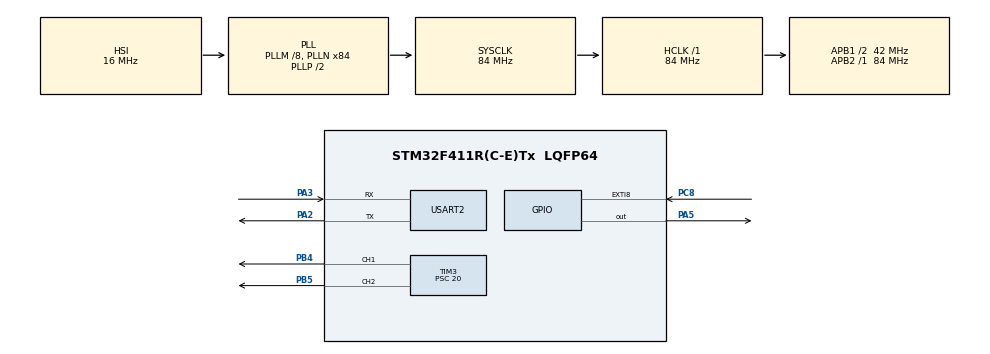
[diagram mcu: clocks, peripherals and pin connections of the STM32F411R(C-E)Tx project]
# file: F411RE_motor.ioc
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Mcu.Family=STM32F4
Mcu.Name=STM32F411R(C-E)Tx
Mcu.Package=LQFP64
NVIC.EXTI9_5_IRQn=true\:2\:0\:true\:false\:true\:true\:true\:true
NVIC.PriorityGroup=NVIC_PRIORITYGROUP_4
NVIC.TIM2_IRQn=true\:0\:0\:false\:false\:true\:true\:true\:true
PA2.Mode=Asynchronous
PA2.Signal=USART2_TX
PA3.Mode=Asynchronous
PA3.Signal=USART2_RX
PA5.Signal=GPIO_Output
PB4.Signal=S_TIM3_CH1
PB5.Signal=S_TIM3_CH2
PC8.Signal=GPXTI8
ProjectManager.HeapSize=0x200
ProjectManager.StackSize=0x400
ProjectManager.TargetToolchain=STM32CubeIDE
RCC.48MHZClocksFreq_Value=42000000
RCC.AHBFreq_Value=84000000
RCC.APB1CLKDivider=RCC_HCLK_DIV2
RCC.APB1Freq_Value=42000000
RCC.APB1TimFreq_Value=84000000
RCC.APB2Freq_Value=84000000
RCC.APB2TimFreq_Value=84000000
RCC.CortexFreq_Value=84000000
RCC.HCLKFreq_Value=84000000
RCC.HSE_VALUE=25000000
RCC.HSI_VALUE=16000000
RCC.LSE_VALUE=32768
RCC.PLLM=8
RCC.PLLN=84
RCC.SYSCLKFreq_VALUE=84000000
RCC.SYSCLKSource=RCC_SYSCLKSOURCE_PLLCLK
RCC.VCOOutputFreq_Value=168000000
SH.S_TIM3_CH1.0=TIM3_CH1,PWM Generation1 CH1
SH.S_TIM3_CH2.0=TIM3_CH2,PWM Generation2 CH2
TIM2.Channel-Output\ Compare1\ No\ Output=TIM_CHANNEL_1
TIM2.Period=9999
TIM2.Prescaler=839
TIM3.Channel-PWM\ Generation1\ CH1=TIM_CHANNEL_1
TIM3.Channel-PWM\ Generation2\ CH2=TIM_CHANNEL_2
TIM3.Period=249
TIM3.Prescaler=20
USART2.VirtualMode=VM_ASYNC
VP_TIM2_VS_ClockSourceINT.Mode=Internal
VP_TIM2_VS_no_output1.Mode=Output Compare1 No Output
VP_TIM3_VS_ClockSourceINT.Mode=Internal
board=custom

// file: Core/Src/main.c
/* USER CODE BEGIN Header */
/**
  ******************************************************************************
  * @file           : main.c
  * @brief          : Main program body
  ******************************************************************************
  * @attention
  *
  * Copyright (c) 2024 STMicroelectronics.
  * All rights reserved.
  *
  * This software is licensed under terms that can be found in the LICENSE file
  * in the root directory of this software component.
  * If no LICENSE file comes with this software, it is provided AS-IS.
  *
  ******************************************************************************
  */
/* USER CODE END Header */
#include "main.h"

TIM_HandleTypeDef htim2;
TIM_HandleTypeDef htim3;

UART_HandleTypeDef huart2;

/* USER CODE BEGIN PV */
volatile uint32_t last_time = 0;
volatile uint8_t is_timer_active = 0;
volatile float speed = 0.0;
uint8_t ramp_speed = 30;
 // Flag to indicate the 20ms window is active

/* USER CODE END PV */

void SystemClock_Config(void);
static void MX_GPIO_Init(void);
static void MX_TIM2_Init(void);
static void MX_TIM3_Init(void);
static void MX_USART2_UART_Init(void);

int main(void)
{

  /* MCU Configuration--------------------------------------------------------*/

  /* Reset of all peripherals, Initializes the Flash interface and the Systick. */
  HAL_Init();

  /* Configure the system clock */
  SystemClock_Config();

  /* Initialize all configured peripherals */
  MX_GPIO_Init();
  MX_TIM2_Init();
  MX_TIM3_Init();
  MX_USART2_UART_Init();
  /* USER CODE BEGIN 2 */

  // Set an initial duty cycle for the PWM pins
  uint32_t new_duty_cycle = 35;

  // Set the duty cycle values (outside the while loop)
  __HAL_TIM_SET_COMPARE(&htim3, TIM_CHANNEL_1, new_duty_cycle);
  __HAL_TIM_SET_COMPARE(&htim3, TIM_CHANNEL_2, new_duty_cycle);

  // Start the PWM on both channels
  HAL_TIM_PWM_Start(&htim3, TIM_CHANNEL_1); // Start PWM on PB4 (D5)
  HAL_TIM_PWM_Start(&htim3, TIM_CHANNEL_2); // Start PWM on PB10 (D6)

  HAL_TIM_Base_Start_IT(&htim2);

  /* USER CODE END 2 */

  /* Infinite loop */
  while (1)
  {

    /* USER CODE BEGIN 3 */
	  if (ramp_speed < 55){
		  ramp_speed +=5;
	  } else {
		  ramp_speed = 30;
	  }

	  __HAL_TIM_SET_COMPARE(&htim3, TIM_CHANNEL_1, ramp_speed);
	  __HAL_TIM_SET_COMPARE(&htim3, TIM_CHANNEL_2, 0);
	  HAL_Delay(4000);

	  __HAL_TIM_SET_COMPARE(&htim3, TIM_CHANNEL_1, 0);
	  __HAL_TIM_SET_COMPARE(&htim3, TIM_CHANNEL_2, ramp_speed);
	  HAL_Delay(4000);
  }
  /* USER CODE END 3 */
}

void SystemClock_Config(void)
{
  RCC_OscInitTypeDef RCC_OscInitStruct = {0};
  RCC_ClkInitTypeDef RCC_ClkInitStruct = {0};

  /** Configure the main internal regulator output voltage
  */
  __HAL_RCC_PWR_CLK_ENABLE();
  __HAL_PWR_VOLTAGESCALING_CONFIG(PWR_REGULATOR_VOLTAGE_SCALE1);

  /** Initializes the RCC Oscillators according to the specified parameters
  * in the RCC_OscInitTypeDef structure.
  */
  RCC_OscInitStruct.OscillatorType = RCC_OSCILLATORTYPE_HSI;
  RCC_OscInitStruct.HSIState = RCC_HSI_ON;
  RCC_OscInitStruct.HSICalibrationValue = RCC_HSICALIBRATION_DEFAULT;
  RCC_OscInitStruct.PLL.PLLState = RCC_PLL_ON;
  RCC_OscInitStruct.PLL.PLLSource = RCC_PLLSOURCE_HSI;
  RCC_OscInitStruct.PLL.PLLM = 8;
  RCC_OscInitStruct.PLL.PLLN = 84;
  RCC_OscInitStruct.PLL.PLLP = RCC_PLLP_DIV2;
  RCC_OscInitStruct.PLL.PLLQ = 4;
  if (HAL_RCC_OscConfig(&RCC_OscInitStruct) != HAL_OK)
  {
    Error_Handler();
  }

  /** Initializes the CPU, AHB and APB buses clocks
  */
  RCC_ClkInitStruct.ClockType = RCC_CLOCKTYPE_HCLK|RCC_CLOCKTYPE_SYSCLK
                              |RCC_CLOCKTYPE_PCLK1|RCC_CLOCKTYPE_PCLK2;
  RCC_ClkInitStruct.SYSCLKSource = RCC_SYSCLKSOURCE_PLLCLK;
  RCC_ClkInitStruct.AHBCLKDivider = RCC_SYSCLK_DIV1;
  RCC_ClkInitStruct.APB1CLKDivider = RCC_HCLK_DIV2;
  RCC_ClkInitStruct.APB2CLKDivider = RCC_HCLK_DIV1;

  if (HAL_RCC_ClockConfig(&RCC_ClkInitStruct, FLASH_LATENCY_2) != HAL_OK)
  {
    Error_Handler();
  }
}

static void MX_TIM2_Init(void)
{

  TIM_ClockConfigTypeDef sClockSourceConfig = {0};
  TIM_MasterConfigTypeDef sMasterConfig = {0};
  TIM_OC_InitTypeDef sConfigOC = {0};

  /* USER CODE BEGIN TIM2_Init 1 */
  HAL_NVIC_SetPriority(TIM2_IRQn, 1, 0); // Set priority (adjust the priority level)
  HAL_NVIC_EnableIRQ(TIM2_IRQn); // Enable the interrupt for Timer 2

  /* USER CODE END TIM2_Init 1 */
  htim2.Instance = TIM2;
  htim2.Init.Prescaler = 839;
  htim2.Init.CounterMode = TIM_COUNTERMODE_UP;
  htim2.Init.Period = 9999;
  htim2.Init.ClockDivision = TIM_CLOCKDIVISION_DIV1;
  htim2.Init.AutoReloadPreload = TIM_AUTORELOAD_PRELOAD_DISABLE;
  if (HAL_TIM_Base_Init(&htim2) != HAL_OK)
  {
    Error_Handler();
  }
  sClockSourceConfig.ClockSource = TIM_CLOCKSOURCE_INTERNAL;
  if (HAL_TIM_ConfigClockSource(&htim2, &sClockSourceConfig) != HAL_OK)
  {
    Error_Handler();
  }
  if (HAL_TIM_OC_Init(&htim2) != HAL_OK)
  {
    Error_Handler();
  }
  sMasterConfig.MasterOutputTrigger = TIM_TRGO_RESET;
  sMasterConfig.MasterSlaveMode = TIM_MASTERSLAVEMODE_DISABLE;
  if (HAL_TIMEx_MasterConfigSynchronization(&htim2, &sMasterConfig) != HAL_OK)
  {
    Error_Handler();
  }
  sConfigOC.OCMode = TIM_OCMODE_TIMING;
  sConfigOC.Pulse = 0;
  sConfigOC.OCPolarity = TIM_OCPOLARITY_HIGH;
  sConfigOC.OCFastMode = TIM_OCFAST_DISABLE;
  if (HAL_TIM_OC_ConfigChannel(&htim2, &sConfigOC, TIM_CHANNEL_1) != HAL_OK)
  {
    Error_Handler();
  }

}

static void MX_TIM3_Init(void)
{

  TIM_ClockConfigTypeDef sClockSourceConfig = {0};
  TIM_MasterConfigTypeDef sMasterConfig = {0};
  TIM_OC_InitTypeDef sConfigOC = {0};

  htim3.Instance = TIM3;
  htim3.Init.Prescaler = 20;
  htim3.Init.CounterMode = TIM_COUNTERMODE_UP;
  htim3.Init.Period = 249;
  htim3.Init.ClockDivision = TIM_CLOCKDIVISION_DIV1;
  htim3.Init.AutoReloadPreload = TIM_AUTORELOAD_PRELOAD_DISABLE;
  if (HAL_TIM_Base_Init(&htim3) != HAL_OK)
  {
    Error_Handler();
  }
  sClockSourceConfig.ClockSource = TIM_CLOCKSOURCE_INTERNAL;
  if (HAL_TIM_ConfigClockSource(&htim3, &sClockSourceConfig) != HAL_OK)
  {
    Error_Handler();
  }
  if (HAL_TIM_PWM_Init(&htim3) != HAL_OK)
  {
    Error_Handler();
  }
  sMasterConfig.MasterOutputTrigger = TIM_TRGO_RESET;
  sMasterConfig.MasterSlaveMode = TIM_MASTERSLAVEMODE_DISABLE;
  if (HAL_TIMEx_MasterConfigSynchronization(&htim3, &sMasterConfig) != HAL_OK)
  {
    Error_Handler();
  }
  sConfigOC.OCMode = TIM_OCMODE_PWM1;
  sConfigOC.Pulse = 0;
  sConfigOC.OCPolarity = TIM_OCPOLARITY_HIGH;
  sConfigOC.OCFastMode = TIM_OCFAST_DISABLE;
  if (HAL_TIM_PWM_ConfigChannel(&htim3, &sConfigOC, TIM_CHANNEL_1) != HAL_OK)
  {
    Error_Handler();
  }
  if (HAL_TIM_PWM_ConfigChannel(&htim3, &sConfigOC, TIM_CHANNEL_2) != HAL_OK)
  {
    Error_Handler();
  }
  HAL_TIM_MspPostInit(&htim3);

}

static void MX_USART2_UART_Init(void)
{

  huart2.Instance = USART2;
  huart2.Init.BaudRate = 115200;
  huart2.Init.WordLength = UART_WORDLENGTH_8B;
  huart2.Init.StopBits = UART_STOPBITS_1;
  huart2.Init.Parity = UART_PARITY_NONE;
  huart2.Init.Mode = UART_MODE_TX_RX;
  huart2.Init.HwFlowCtl = UART_HWCONTROL_NONE;
  huart2.Init.OverSampling = UART_OVERSAMPLING_16;
  if (HAL_UART_Init(&huart2) != HAL_OK)
  {
    Error_Handler();
  }

}

static void MX_GPIO_Init(void)
{
  GPIO_InitTypeDef GPIO_InitStruct = {0};

  /* GPIO Ports Clock Enable */
  __HAL_RCC_GPIOA_CLK_ENABLE();
  __HAL_RCC_GPIOC_CLK_ENABLE();
  __HAL_RCC_GPIOB_CLK_ENABLE();

  /*Configure GPIO pin Output Level */
  HAL_GPIO_WritePin(GPIOA, GPIO_PIN_5, GPIO_PIN_RESET);

  /*Configure GPIO pin : PA5 */
  GPIO_InitStruct.Pin = GPIO_PIN_5;
  GPIO_InitStruct.Mode = GPIO_MODE_OUTPUT_PP;
  GPIO_InitStruct.Pull = GPIO_NOPULL;
  GPIO_InitStruct.Speed = GPIO_SPEED_FREQ_LOW;
  HAL_GPIO_Init(GPIOA, &GPIO_InitStruct);

  /*Configure GPIO pin : PC8 */
  GPIO_InitStruct.Pin = GPIO_PIN_8;
  GPIO_InitStruct.Mode = GPIO_MODE_IT_RISING;
  GPIO_InitStruct.Pull = GPIO_NOPULL;
  HAL_GPIO_Init(GPIOC, &GPIO_InitStruct);

  /* EXTI interrupt init*/
  HAL_NVIC_SetPriority(EXTI9_5_IRQn, 2, 0);
  HAL_NVIC_EnableIRQ(EXTI9_5_IRQn);

}

/* USER CODE BEGIN 4 */
int __io_putchar(int ch) {
    HAL_UART_Transmit(&huart2, (uint8_t *)&ch, 1, HAL_MAX_DELAY);
    return ch;
}
/* USER CODE END 4 */

void Error_Handler(void)
{
  __disable_irq();
  while (1)
  {
  }
}
